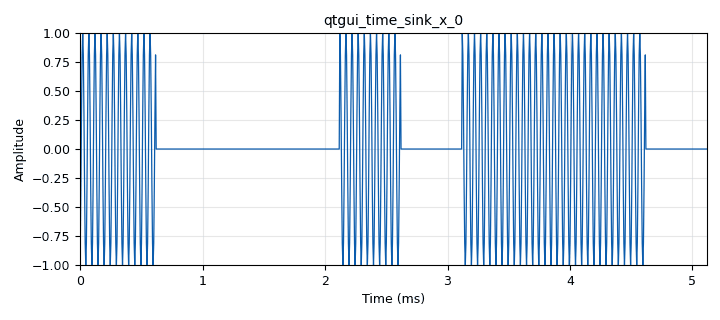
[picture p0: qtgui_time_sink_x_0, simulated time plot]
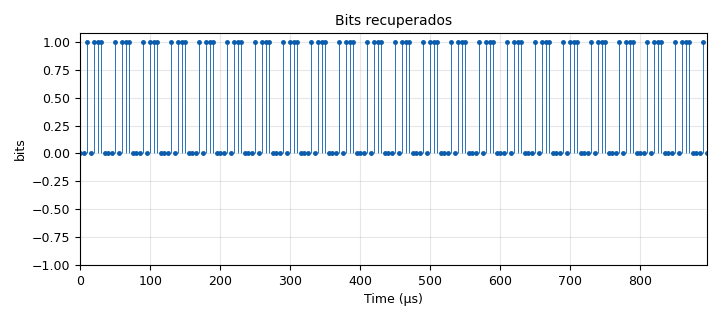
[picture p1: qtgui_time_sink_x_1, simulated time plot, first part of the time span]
options:
  parameters:
    generate_options: qt_gui
    id: ook
    output_language: python
    title: Not titled yet
  states: {}

blocks:
- name: A
  id: variable
  parameters:
    value: '1.0'
  states: {}
- name: bit_rate
  id: variable
  parameters:
    value: 2e3
  states: {}
- name: fc
  id: variable
  parameters:
    value: 20e3
  states: {}
- name: samp_rate
  id: variable
  parameters:
    value: '200000'
  states: {}
- name: sps
  id: variable
  parameters:
    value: int(samp_rate/bit_rate)
  states: {}
- name: analog_sig_source_x_0
  id: analog_sig_source_x
  parameters:
    amp: '1'
    freq: fc
    offset: '0'
    phase: '0'
    samp_rate: samp_rate
    type: float
    waveform: analog.GR_COS_WAVE
  states: {}
- name: blocks_keep_one_in_n_0
  id: blocks_keep_one_in_n
  parameters:
    n: sps
    type: float
  states: {}
- name: blocks_multiply_const_xx_0
  id: blocks_multiply_const_xx
  parameters:
    const: A
    type: float
  states: {}
- name: blocks_multiply_xx_0
  id: blocks_multiply_xx
  parameters:
    type: float
  states: {}
- name: blocks_repeat_0
  id: blocks_repeat
  parameters:
    interp: sps
    type: float
  states: {}
- name: blocks_threshold_ff_0
  id: blocks_threshold_ff
  parameters:
    high: '0.1'
    init: '0'
    low: '0.1'
  states: {}
- name: blocks_throttle_0
  id: blocks_throttle
  parameters:
    samples_per_second: samp_rate
    type: float
  states: {}
- name: blocks_vector_source_x_0
  id: blocks_vector_source_x
  parameters:
    repeat: 'True'
    type: float
    vector: (0, 0, 1,0,1,1,1,0)
  states: {}
- name: qtgui_time_sink_x_0
  id: qtgui_time_sink_x
  parameters:
    size: '1024'
    srate: samp_rate
    type: float
  states: {}
- name: qtgui_time_sink_x_1
  id: qtgui_time_sink_x
  parameters:
    grid: 'True'
    marker1: '0'
    name: '"Bits recuperados"'
    size: '1024'
    srate: samp_rate
    stemplot: 'True'
    type: float
    ylabel: bits
  states: {}

connections:
- [analog_sig_source_x_0, '0', blocks_multiply_xx_0, '1']
- [blocks_keep_one_in_n_0, '0', qtgui_time_sink_x_1, '0']
- [blocks_multiply_const_xx_0, '0', blocks_multiply_xx_0, '0']
- [blocks_multiply_xx_0, '0', blocks_throttle_0, '0']
- [blocks_repeat_0, '0', blocks_multiply_const_xx_0, '0']
- [blocks_threshold_ff_0, '0', blocks_keep_one_in_n_0, '0']
- [blocks_throttle_0, '0', blocks_threshold_ff_0, '0']
- [blocks_throttle_0, '0', qtgui_time_sink_x_0, '0']
- [blocks_vector_source_x_0, '0', blocks_repeat_0, '0']

metadata:
  file_format: 1
  grc_version: 3.10.5.1
